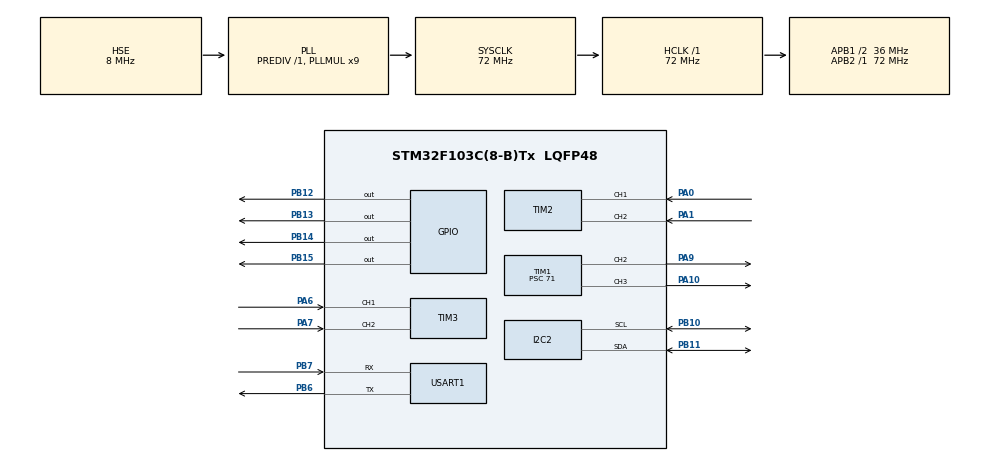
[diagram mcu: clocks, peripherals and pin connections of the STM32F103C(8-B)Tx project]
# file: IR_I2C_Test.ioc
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I2C2.I2C_Mode=I2C_Fast
Mcu.Family=STM32F1
Mcu.Name=STM32F103C(8-B)Tx
Mcu.Package=LQFP48
NVIC.PriorityGroup=NVIC_PRIORITYGROUP_4
PA0-WKUP.Signal=S_TIM2_CH1_ETR
PA1.Signal=S_TIM2_CH2
PA10.Signal=S_TIM1_CH3
PA13.Mode=Serial_Wire
PA13.Signal=SYS_JTMS-SWDIO
PA14.Mode=Serial_Wire
PA14.Signal=SYS_JTCK-SWCLK
PA6.Signal=S_TIM3_CH1
PA7.Signal=S_TIM3_CH2
PA9.Signal=S_TIM1_CH2
PB10.Mode=I2C
PB10.Signal=I2C2_SCL
PB11.Mode=I2C
PB11.Signal=I2C2_SDA
PB12.Signal=GPIO_Output
PB13.Signal=GPIO_Output
PB14.Signal=GPIO_Output
PB15.Signal=GPIO_Output
PB6.Mode=Asynchronous
PB6.Signal=USART1_TX
PB7.Mode=Asynchronous
PB7.Signal=USART1_RX
PD0-OSC_IN.Mode=HSE-External-Oscillator
PD0-OSC_IN.Signal=RCC_OSC_IN
PD1-OSC_OUT.Mode=HSE-External-Oscillator
PD1-OSC_OUT.Signal=RCC_OSC_OUT
ProjectManager.HeapSize=0x200
ProjectManager.StackSize=0x400
ProjectManager.TargetToolchain=MDK-ARM V5.32
RCC.AHBFreq_Value=72000000
RCC.APB1CLKDivider=RCC_HCLK_DIV2
RCC.APB1Freq_Value=36000000
RCC.APB1TimFreq_Value=72000000
RCC.APB2Freq_Value=72000000
RCC.APB2TimFreq_Value=72000000
RCC.HCLKFreq_Value=72000000
RCC.PLLMUL=RCC_PLL_MUL9
RCC.PLLSourceVirtual=RCC_PLLSOURCE_HSE
RCC.SYSCLKFreq_VALUE=72000000
RCC.SYSCLKSource=RCC_SYSCLKSOURCE_PLLCLK
RCC.USBFreq_Value=72000000
SH.S_TIM1_CH2.0=TIM1_CH2,PWM Generation2 CH2
SH.S_TIM1_CH3.0=TIM1_CH3,PWM Generation3 CH3
SH.S_TIM2_CH1_ETR.0=TIM2_CH1,Encoder_Interface
SH.S_TIM2_CH2.0=TIM2_CH2,Encoder_Interface
SH.S_TIM3_CH1.0=TIM3_CH1,Encoder_Interface
SH.S_TIM3_CH2.0=TIM3_CH2,Encoder_Interface
TIM1.Channel-PWM\ Generation2\ CH2=TIM_CHANNEL_2
TIM1.Channel-PWM\ Generation3\ CH3=TIM_CHANNEL_3
TIM1.Period=1000-1
TIM1.Prescaler=71
TIM2.AutoReloadPreload=TIM_AUTORELOAD_PRELOAD_ENABLE
TIM2.IC1Filter=10
TIM2.IC2Filter=10
TIM3.IC1Filter=10
TIM3.IC2Filter=10
USART1.VirtualMode=VM_ASYNC
board=custom

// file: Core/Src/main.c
/* USER CODE BEGIN Header */
/**
  ******************************************************************************
  * @file           : main.c
  * @brief          : Main program body
  ******************************************************************************
  * @attention
  *
  * <h2><center>&copy; Copyright (c) 2024 STMicroelectronics.
  * All rights reserved.</center></h2>
  *
  * This software component is licensed by ST under BSD 3-Clause license,
  * the "License"; You may not use this file except in compliance with the
  * License. You may obtain a copy of the License at:
  *                        opensource.org/licenses/BSD-3-Clause
  *
  ******************************************************************************
  */
/* USER CODE END Header */
#include "main.h"
#include "i2c.h"
#include "tim.h"
#include "usart.h"
#include "gpio.h"

/* USER CODE BEGIN Includes */
#include "pid.h"
#include "bsp_IR_i2c.h"
/* USER CODE END Includes */

/* USER CODE BEGIN PTD */

// 0 = 右转, 1 = 左转
int turn_direction = 1;

int speed_L = 150;
int speed_R = 150;
/* USER CODE END PTD */

void SystemClock_Config(void);

/* USER CODE BEGIN 0 */
uint8_t ir_x1,ir_x2,ir_x3,ir_x4,ir_x5,ir_x6,ir_x7,ir_x8;

int real_speed_L = 0;
int real_speed_R = 0;
int pwm_L = 0;
int pwm_R = 0;
int target_L = 0;
int target_R = 0;

/* USER CODE END 0 */

int main(void)
{

  /* MCU Configuration--------------------------------------------------------*/

  /* Reset of all peripherals, Initializes the Flash interface and the Systick. */
  HAL_Init();

  /* Configure the system clock */
  SystemClock_Config();

  /* Initialize all configured peripherals */
  MX_GPIO_Init();
  MX_I2C2_Init();
  MX_USART1_UART_Init();
  MX_TIM1_Init();
  MX_TIM2_Init();
  MX_TIM3_Init();
  /* USER CODE BEGIN 2 */
	HAL_TIM_PWM_Start(&htim1, TIM_CHANNEL_2); // PA9
  HAL_TIM_PWM_Start(&htim1, TIM_CHANNEL_3); // PA10
	HAL_TIM_Encoder_Start(&htim2, TIM_CHANNEL_ALL);
  HAL_TIM_Encoder_Start(&htim3, TIM_CHANNEL_ALL);
	printf("Pelase wait!\r\n");
  HAL_Delay(3000);//等待模块稳定
//  set_adjust_mode(1);
//  HAL_Delay(500);
//
//  set_adjust_mode(0);
//  HAL_Delay(500);
  /* USER CODE END 2 */

  /* Infinite loop */
  while (1)
  {

    /* USER CODE BEGIN 3 */
//		deal_IRdata(&ir_x1,&ir_x2,&ir_x3,&ir_x4,&ir_x5,&ir_x6,&ir_x7,&ir_x8);
//	  printf("x1:%d,x2:%d,x3:%d,x4:%d,x5:%d,x6:%d,x7:%d,x8:%d\r\n",ir_x1,ir_x2,ir_x3,ir_x4,ir_x5,ir_x6,ir_x7,ir_x8);
//		Motor_Set(300, 300); // 强制往前走
//	  HAL_Delay(300);

		deal_IRdata(&ir_x1,&ir_x2,&ir_x3,&ir_x4,&ir_x5,&ir_x6,&ir_x7,&ir_x8);
		Read_Encoder(&real_speed_L, &real_speed_R);
if (Is_Horizontal_Line(ir_x1, ir_x2, ir_x3, ir_x4, ir_x5, ir_x6, ir_x7, ir_x8))
    {
        // 盲走冲线 - 闭环控制版
        // 给他一个固定的目标速度，PID会自动调整PWM去克服阻力
        int blind_speed = 100; // 目标脉冲数

        // 简单粗暴点：冲线时可以直接给固定PWM，或者用PID
        // 这里演示用PID保持直行
        // 重置积分，防止之前积累的误差导致冲线歪斜
        error_sum_L = 0;
        error_sum_R = 0;

        // 冲线循环 (比如冲 260ms)
        // 可以在这里用一个小循环，或者用 delay + 简单的 Motor_Set
        Motor_Set(300, 300); // 冲线建议直接给大 PWM 比较稳，PID 反应有时不够快
        HAL_Delay(260);

        // 停车再看
        Motor_Set(0, 0);
        deal_IRdata(&ir_x1,&ir_x2,&ir_x3,&ir_x4,&ir_x5,&ir_x6,&ir_x7,&ir_x8);

        // 判断逻辑 (保持你的原样)
        if (ir_x4 == 0 || ir_x5 == 0 ||(ir_x2 == 0 && ir_x6 == 0)) {
             // 十字路口：什么都不做，继续走
        }
        else {
             // 丁字路口：转向
             if (turn_direction == 0) { // 右转
                 Motor_Set(-300, 300); // 转向直接给 PWM 比较干脆
                 HAL_Delay(350);
             } else { // 左转
                 Motor_Set(300, -300);
                 HAL_Delay(350);
             }
             // 转弯后清除 PID 历史，防止暴冲
             error_sum_L = 0;
             error_sum_R = 0;
             last_error = 0;
        }
    }

    // 4. 循迹 PID 计算 (计算偏差)
    error = Calc_Error(ir_x1, ir_x2, ir_x3, ir_x4, ir_x5, ir_x6, ir_x7, ir_x8);
    float pid_turn_val = (Kp * error) + (Kd * (error - last_error));
    last_error = error;

    // 5. 计算左右轮的【目标速度】 (不是PWM了！)
    // base_speed 应该是你希望编码器每 10ms 读到的脉冲数，比如 50~150
    target_L = base_speed + (int)pid_turn_val;
    target_R = base_speed - (int)pid_turn_val;

    // 6. 速度闭环 PID 计算 (核心修改)
    // 根据 目标速度 和 真实速度，算出来到底要给多少 PWM
    pwm_L = Speed_PID_Calc(target_L, real_speed_L, &error_sum_L);
    pwm_R = Speed_PID_Calc(target_R, real_speed_R, &error_sum_R);

    // 7. 最终驱动电机
    Motor_Set(pwm_L, pwm_R);

    // 8. 循环频率控制 (采样时间)
    // 这个延时非常重要！因为它决定了编码器积累了多少脉冲。
    // 如果延时太短，脉冲数很少，速度波动大；太长，控制迟钝。
    // 推荐 10ms
    HAL_Delay(10);

  }
  /* USER CODE END 3 */
}

void SystemClock_Config(void)
{
  RCC_OscInitTypeDef RCC_OscInitStruct = {0};
  RCC_ClkInitTypeDef RCC_ClkInitStruct = {0};

  /** Initializes the RCC Oscillators according to the specified parameters
  * in the RCC_OscInitTypeDef structure.
  */
  RCC_OscInitStruct.OscillatorType = RCC_OSCILLATORTYPE_HSE;
  RCC_OscInitStruct.HSEState = RCC_HSE_ON;
  RCC_OscInitStruct.HSEPredivValue = RCC_HSE_PREDIV_DIV1;
  RCC_OscInitStruct.HSIState = RCC_HSI_ON;
  RCC_OscInitStruct.PLL.PLLState = RCC_PLL_ON;
  RCC_OscInitStruct.PLL.PLLSource = RCC_PLLSOURCE_HSE;
  RCC_OscInitStruct.PLL.PLLMUL = RCC_PLL_MUL9;
  if (HAL_RCC_OscConfig(&RCC_OscInitStruct) != HAL_OK)
  {
    Error_Handler();
  }
  /** Initializes the CPU, AHB and APB buses clocks
  */
  RCC_ClkInitStruct.ClockType = RCC_CLOCKTYPE_HCLK|RCC_CLOCKTYPE_SYSCLK
                              |RCC_CLOCKTYPE_PCLK1|RCC_CLOCKTYPE_PCLK2;
  RCC_ClkInitStruct.SYSCLKSource = RCC_SYSCLKSOURCE_PLLCLK;
  RCC_ClkInitStruct.AHBCLKDivider = RCC_SYSCLK_DIV1;
  RCC_ClkInitStruct.APB1CLKDivider = RCC_HCLK_DIV2;
  RCC_ClkInitStruct.APB2CLKDivider = RCC_HCLK_DIV1;

  if (HAL_RCC_ClockConfig(&RCC_ClkInitStruct, FLASH_LATENCY_2) != HAL_OK)
  {
    Error_Handler();
  }
}

void Error_Handler(void)
{
  __disable_irq();
  while (1)
  {
  }
}

/************************ (C) COPYRIGHT STMicroelectronics *****END OF FILE****/
